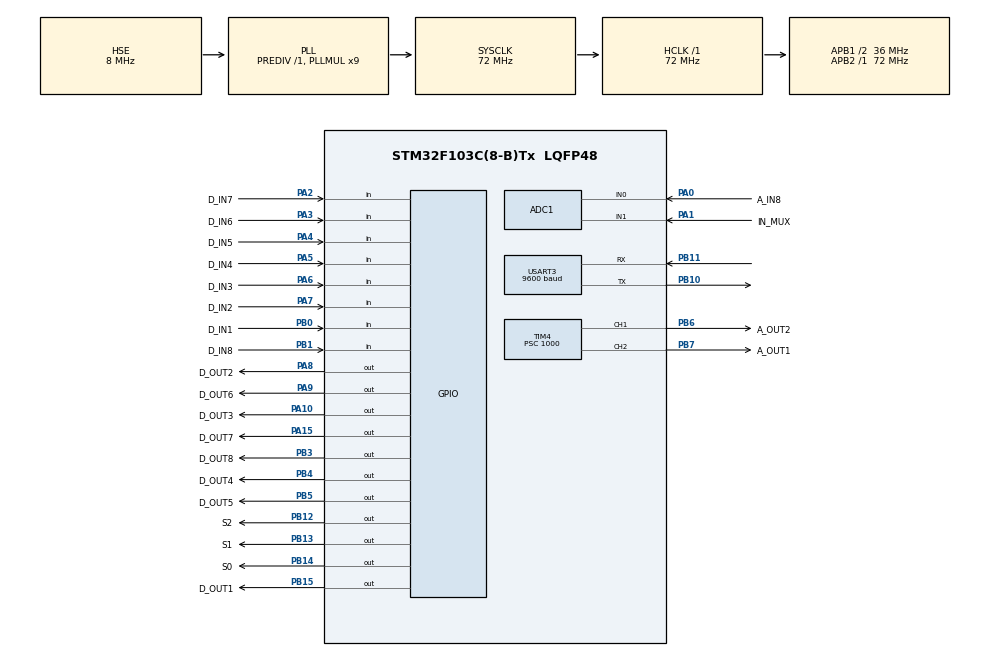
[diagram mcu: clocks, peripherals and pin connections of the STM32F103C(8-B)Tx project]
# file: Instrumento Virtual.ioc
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ADC1.Channel-3\#ChannelRegularConversion=ADC_CHANNEL_0
ADC1.Channel-4\#ChannelRegularConversion=ADC_CHANNEL_1
ADC1.NbrOfConversion=2
ADC1.NbrOfConversionFlag=1
ADC1.Rank-3\#ChannelRegularConversion=1
ADC1.Rank-4\#ChannelRegularConversion=2
ADC1.SamplingTime-3\#ChannelRegularConversion=ADC_SAMPLETIME_1CYCLE_5
ADC1.SamplingTime-4\#ChannelRegularConversion=ADC_SAMPLETIME_1CYCLE_5
ADC1.master=1
Mcu.Family=STM32F1
Mcu.Name=STM32F103C(8-B)Tx
Mcu.Package=LQFP48
NVIC.ADC1_2_IRQn=true\:0\:0\:false\:false\:true\:true\:true\:true
NVIC.PriorityGroup=NVIC_PRIORITYGROUP_4
NVIC.TIM1_UP_IRQn=true\:0\:0\:false\:false\:true\:true\:true\:true
NVIC.USART3_IRQn=true\:0\:0\:false\:false\:true\:true\:true\:true
PA0-WKUP.GPIO_Label=A_IN8
PA0-WKUP.Signal=ADCx_IN0
PA1.GPIO_Label=IN_MUX
PA1.Signal=ADCx_IN1
PA10.GPIO_Label=D_OUT3
PA10.Signal=GPIO_Output
PA13.Mode=Serial_Wire
PA13.Signal=SYS_JTMS-SWDIO
PA14.Mode=Serial_Wire
PA14.Signal=SYS_JTCK-SWCLK
PA15.GPIO_Label=D_OUT7
PA15.Signal=GPIO_Output
PA2.GPIO_Label=D_IN7
PA2.GPIO_PuPd=GPIO_PULLDOWN
PA2.Signal=GPIO_Input
PA3.GPIO_Label=D_IN6
PA3.GPIO_PuPd=GPIO_PULLDOWN
PA3.Signal=GPIO_Input
PA4.GPIO_Label=D_IN5
PA4.GPIO_PuPd=GPIO_PULLDOWN
PA4.Signal=GPIO_Input
PA5.GPIO_Label=D_IN4
PA5.GPIO_PuPd=GPIO_PULLDOWN
PA5.Signal=GPIO_Input
PA6.GPIO_Label=D_IN3
PA6.GPIO_PuPd=GPIO_PULLDOWN
PA6.Signal=GPIO_Input
PA7.GPIO_Label=D_IN2
PA7.GPIO_PuPd=GPIO_PULLDOWN
PA7.Signal=GPIO_Input
PA8.GPIO_Label=D_OUT2
PA8.Signal=GPIO_Output
PA9.GPIO_Label=D_OUT6
PA9.Signal=GPIO_Output
PB0.GPIO_Label=D_IN1
PB0.Signal=GPIO_Input
PB1.GPIO_Label=D_IN8
PB1.Signal=GPIO_Input
PB10.Mode=Asynchronous
PB10.Signal=USART3_TX
PB11.Mode=Asynchronous
PB11.Signal=USART3_RX
PB12.GPIO_Label=S2
PB12.Signal=GPIO_Output
PB13.GPIO_Label=S1
PB13.Signal=GPIO_Output
PB14.GPIO_Label=S0
PB14.Signal=GPIO_Output
PB15.GPIO_Label=D_OUT1
PB15.Signal=GPIO_Output
PB3.GPIO_Label=D_OUT8
PB3.Signal=GPIO_Output
PB4.GPIO_Label=D_OUT4
PB4.Signal=GPIO_Output
PB5.GPIO_Label=D_OUT5
PB5.Signal=GPIO_Output
PB6.GPIO_Label=A_OUT2
PB6.Signal=S_TIM4_CH1
PB7.GPIO_Label=A_OUT1
PB7.Signal=S_TIM4_CH2
PD0-OSC_IN.Mode=HSE-External-Oscillator
PD0-OSC_IN.Signal=RCC_OSC_IN
PD1-OSC_OUT.Mode=HSE-External-Oscillator
PD1-OSC_OUT.Signal=RCC_OSC_OUT
ProjectManager.HeapSize=0x200
ProjectManager.StackSize=0x400
ProjectManager.TargetToolchain=STM32CubeIDE
RCC.ADCPresc=RCC_ADCPCLK2_DIV6
RCC.AHBFreq_Value=72000000
RCC.APB1CLKDivider=RCC_HCLK_DIV2
RCC.APB1Freq_Value=36000000
RCC.APB1TimFreq_Value=72000000
RCC.APB2Freq_Value=72000000
RCC.APB2TimFreq_Value=72000000
RCC.HCLKFreq_Value=72000000
RCC.PLLMUL=RCC_PLL_MUL9
RCC.PLLSourceVirtual=RCC_PLLSOURCE_HSE
RCC.SYSCLKFreq_VALUE=72000000
RCC.SYSCLKSource=RCC_SYSCLKSOURCE_PLLCLK
RCC.USBFreq_Value=72000000
SH.ADCx_IN0.0=ADC1_IN0,IN0
SH.ADCx_IN1.0=ADC2_IN1
SH.ADCx_IN1.1=ADC1_IN1,IN1
SH.S_TIM4_CH1.0=TIM4_CH1,PWM Generation1 CH1
SH.S_TIM4_CH2.0=TIM4_CH2,PWM Generation2 CH2
TIM1.AutoReloadPreload=TIM_AUTORELOAD_PRELOAD_ENABLE
TIM1.Period=71
TIM1.Prescaler=72-1
TIM4.Channel-PWM\ Generation1\ CH1=TIM_CHANNEL_1
TIM4.Channel-PWM\ Generation2\ CH2=TIM_CHANNEL_2
TIM4.Period=1199
TIM4.Prescaler=1000
TIM4.Pulse-PWM\ Generation1\ CH1=0
TIM4.Pulse-PWM\ Generation2\ CH2=0
USART3.BaudRate=9600
USART3.Parity=PARITY_NONE
USART3.VirtualMode=VM_ASYNC
VP_TIM1_VS_ClockSourceINT.Mode=Internal
VP_TIM4_VS_ClockSourceINT.Mode=Internal
board=custom

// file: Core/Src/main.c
/* USER CODE BEGIN Header */
/**
  ******************************************************************************
  * @file           : main.c
  * @brief          : Main program body
  ******************************************************************************
  * @attention
  *
  * Copyright (c) 2023 STMicroelectronics.
  * All rights reserved.
  *
  * This software is licensed under terms that can be found in the LICENSE file
  * in the root directory of this software component.
  * If no LICENSE file comes with this software, it is provided AS-IS.
  *
  ******************************************************************************
  */
/* USER CODE END Header */
#include "main.h"

/* USER CODE BEGIN Includes */
#include "channelConfig.h"
#include <string.h>
#include <stdio.h>
/* USER CODE END Includes */

/* USER CODE BEGIN PM */
#define lengthTransmit  40    //16 entradas y salidas digitales, 8 entradas analógicas, 2 salidas analógicas y 3 bytes en incio
#define lengthReceive  14     //Longitud que espera la uart del dato a recibir, son 8 salidas digitales y 2 analógicas y 2 bytes de inicio y fin
#define lengthDigInOut  16    //Son 8 entradas digitales y 8 salidas digitales
#define lengthAnalogInOut  10 //Son 8 entradas y 2 salidas analógicas
const char *errorTransmision = "reenviar Tx"; //código de error a recibir desde QT
/* USER CODE END PM */

ADC_HandleTypeDef hadc1;

TIM_HandleTypeDef htim1;
TIM_HandleTypeDef htim4;

UART_HandleTypeDef huart3;

/* USER CODE BEGIN PV */

uint8_t flagChange = 0; //variable para cambiar el valor de channelMux cuando el dato se haya guardado
uint8_t channelMux     =  0;  //variable para swtichear entre los canales del mux, va del 0 al 7
uint16_t analogInOut[lengthAnalogInOut]   = {}; //array para guardar las lecturas de las entradas analógicas, 8 entradas y 2 salidas
uint8_t digitalIn[8]   = {}; //array para guardar las lecturas de las entradas digitales, 8 entradas y salidas
uint8_t dataSend[lengthTransmit]   = {}; //array para el envio de datos
uint8_t dataReceive[lengthReceive] = {}; //array para el recibo de dato, no se si es necesario, lo sabremos luego
/* USER CODE END PV */

void SystemClock_Config(void);
static void MX_GPIO_Init(void);
static void MX_ADC1_Init(void);
static void MX_TIM1_Init(void);
static void MX_USART3_UART_Init(void);
static void MX_TIM4_Init(void);
/* USER CODE BEGIN PFP */

void envioDeDatos(void);
void analogToByte(uint16_t * analogData);
void ADC_Select_CH0 (void);
void ADC_Select_CH1 (void);

/* USER CODE END PFP */

int main(void)
{

  /* MCU Configuration--------------------------------------------------------*/

  /* Reset of all peripherals, Initializes the Flash interface and the Systick. */
  HAL_Init();

  /* Configure the system clock */
  SystemClock_Config();

  /* Initialize all configured peripherals */
  MX_GPIO_Init();
  MX_ADC1_Init();
  MX_TIM1_Init();
  MX_USART3_UART_Init();
  MX_TIM4_Init();
  /* USER CODE BEGIN 2 */
  HAL_UART_Receive_IT(&huart3,dataReceive, lengthReceive); //receive data from data buffer interrupt mode
  HAL_TIM_Base_Start_IT(&htim1);
  HAL_TIM_PWM_Start(&htim4, TIM_CHANNEL_1);
  HAL_TIM_PWM_Start(&htim4, TIM_CHANNEL_2);
  /* USER CODE END 2 */

  /* Infinite loop */
  while (1)
  {

  }
}

void SystemClock_Config(void)
{
  RCC_OscInitTypeDef RCC_OscInitStruct = {0};
  RCC_ClkInitTypeDef RCC_ClkInitStruct = {0};
  RCC_PeriphCLKInitTypeDef PeriphClkInit = {0};

  /** Initializes the RCC Oscillators according to the specified parameters
  * in the RCC_OscInitTypeDef structure.
  */
  RCC_OscInitStruct.OscillatorType = RCC_OSCILLATORTYPE_HSE;
  RCC_OscInitStruct.HSEState = RCC_HSE_ON;
  RCC_OscInitStruct.HSEPredivValue = RCC_HSE_PREDIV_DIV1;
  RCC_OscInitStruct.HSIState = RCC_HSI_ON;
  RCC_OscInitStruct.PLL.PLLState = RCC_PLL_ON;
  RCC_OscInitStruct.PLL.PLLSource = RCC_PLLSOURCE_HSE;
  RCC_OscInitStruct.PLL.PLLMUL = RCC_PLL_MUL9;
  if (HAL_RCC_OscConfig(&RCC_OscInitStruct) != HAL_OK)
  {
    Error_Handler();
  }

  /** Initializes the CPU, AHB and APB buses clocks
  */
  RCC_ClkInitStruct.ClockType = RCC_CLOCKTYPE_HCLK|RCC_CLOCKTYPE_SYSCLK
                              |RCC_CLOCKTYPE_PCLK1|RCC_CLOCKTYPE_PCLK2;
  RCC_ClkInitStruct.SYSCLKSource = RCC_SYSCLKSOURCE_PLLCLK;
  RCC_ClkInitStruct.AHBCLKDivider = RCC_SYSCLK_DIV1;
  RCC_ClkInitStruct.APB1CLKDivider = RCC_HCLK_DIV2;
  RCC_ClkInitStruct.APB2CLKDivider = RCC_HCLK_DIV1;

  if (HAL_RCC_ClockConfig(&RCC_ClkInitStruct, FLASH_LATENCY_2) != HAL_OK)
  {
    Error_Handler();
  }
  PeriphClkInit.PeriphClockSelection = RCC_PERIPHCLK_ADC;
  PeriphClkInit.AdcClockSelection = RCC_ADCPCLK2_DIV6;
  if (HAL_RCCEx_PeriphCLKConfig(&PeriphClkInit) != HAL_OK)
  {
    Error_Handler();
  }
}

static void MX_ADC1_Init(void)
{

  ADC_ChannelConfTypeDef sConfig = {0};

  /** Common config
  */
  hadc1.Instance = ADC1;
  hadc1.Init.ScanConvMode = ADC_SCAN_ENABLE;
  hadc1.Init.ContinuousConvMode = DISABLE;
  hadc1.Init.DiscontinuousConvMode = DISABLE;
  hadc1.Init.ExternalTrigConv = ADC_SOFTWARE_START;
  hadc1.Init.DataAlign = ADC_DATAALIGN_RIGHT;
  hadc1.Init.NbrOfConversion = 2;
  if (HAL_ADC_Init(&hadc1) != HAL_OK)
  {
    Error_Handler();
  }

  /** Configure Regular Channel
  */
  sConfig.Channel = ADC_CHANNEL_0;
  sConfig.Rank = ADC_REGULAR_RANK_1;
  sConfig.SamplingTime = ADC_SAMPLETIME_1CYCLE_5;
  if (HAL_ADC_ConfigChannel(&hadc1, &sConfig) != HAL_OK)
  {
    Error_Handler();
  }

  /** Configure Regular Channel
  */
  sConfig.Channel = ADC_CHANNEL_1;
  sConfig.Rank = ADC_REGULAR_RANK_2;
  if (HAL_ADC_ConfigChannel(&hadc1, &sConfig) != HAL_OK)
  {
    Error_Handler();
  }

}

static void MX_TIM1_Init(void)
{

  TIM_ClockConfigTypeDef sClockSourceConfig = {0};
  TIM_MasterConfigTypeDef sMasterConfig = {0};

  htim1.Instance = TIM1;
  htim1.Init.Prescaler = 72-1;
  htim1.Init.CounterMode = TIM_COUNTERMODE_UP;
  htim1.Init.Period = 71;
  htim1.Init.ClockDivision = TIM_CLOCKDIVISION_DIV1;
  htim1.Init.RepetitionCounter = 0;
  htim1.Init.AutoReloadPreload = TIM_AUTORELOAD_PRELOAD_ENABLE;
  if (HAL_TIM_Base_Init(&htim1) != HAL_OK)
  {
    Error_Handler();
  }
  sClockSourceConfig.ClockSource = TIM_CLOCKSOURCE_INTERNAL;
  if (HAL_TIM_ConfigClockSource(&htim1, &sClockSourceConfig) != HAL_OK)
  {
    Error_Handler();
  }
  sMasterConfig.MasterOutputTrigger = TIM_TRGO_RESET;
  sMasterConfig.MasterSlaveMode = TIM_MASTERSLAVEMODE_DISABLE;
  if (HAL_TIMEx_MasterConfigSynchronization(&htim1, &sMasterConfig) != HAL_OK)
  {
    Error_Handler();
  }

}

static void MX_TIM4_Init(void)
{

  TIM_ClockConfigTypeDef sClockSourceConfig = {0};
  TIM_MasterConfigTypeDef sMasterConfig = {0};
  TIM_OC_InitTypeDef sConfigOC = {0};

  htim4.Instance = TIM4;
  htim4.Init.Prescaler = 1000;
  htim4.Init.CounterMode = TIM_COUNTERMODE_UP;
  htim4.Init.Period = 1199;
  htim4.Init.ClockDivision = TIM_CLOCKDIVISION_DIV1;
  htim4.Init.AutoReloadPreload = TIM_AUTORELOAD_PRELOAD_DISABLE;
  if (HAL_TIM_Base_Init(&htim4) != HAL_OK)
  {
    Error_Handler();
  }
  sClockSourceConfig.ClockSource = TIM_CLOCKSOURCE_INTERNAL;
  if (HAL_TIM_ConfigClockSource(&htim4, &sClockSourceConfig) != HAL_OK)
  {
    Error_Handler();
  }
  if (HAL_TIM_PWM_Init(&htim4) != HAL_OK)
  {
    Error_Handler();
  }
  sMasterConfig.MasterOutputTrigger = TIM_TRGO_RESET;
  sMasterConfig.MasterSlaveMode = TIM_MASTERSLAVEMODE_DISABLE;
  if (HAL_TIMEx_MasterConfigSynchronization(&htim4, &sMasterConfig) != HAL_OK)
  {
    Error_Handler();
  }
  sConfigOC.OCMode = TIM_OCMODE_PWM1;
  sConfigOC.Pulse = 0;
  sConfigOC.OCPolarity = TIM_OCPOLARITY_HIGH;
  sConfigOC.OCFastMode = TIM_OCFAST_DISABLE;
  if (HAL_TIM_PWM_ConfigChannel(&htim4, &sConfigOC, TIM_CHANNEL_1) != HAL_OK)
  {
    Error_Handler();
  }
  if (HAL_TIM_PWM_ConfigChannel(&htim4, &sConfigOC, TIM_CHANNEL_2) != HAL_OK)
  {
    Error_Handler();
  }
  HAL_TIM_MspPostInit(&htim4);

}

static void MX_USART3_UART_Init(void)
{

  huart3.Instance = USART3;
  huart3.Init.BaudRate = 9600;
  huart3.Init.WordLength = UART_WORDLENGTH_8B;
  huart3.Init.StopBits = UART_STOPBITS_1;
  huart3.Init.Parity = UART_PARITY_NONE;
  huart3.Init.Mode = UART_MODE_TX_RX;
  huart3.Init.HwFlowCtl = UART_HWCONTROL_NONE;
  huart3.Init.OverSampling = UART_OVERSAMPLING_16;
  if (HAL_UART_Init(&huart3) != HAL_OK)
  {
    Error_Handler();
  }

}

static void MX_GPIO_Init(void)
{
  GPIO_InitTypeDef GPIO_InitStruct = {0};

  /* GPIO Ports Clock Enable */
  __HAL_RCC_GPIOD_CLK_ENABLE();
  __HAL_RCC_GPIOA_CLK_ENABLE();
  __HAL_RCC_GPIOB_CLK_ENABLE();

  /*Configure GPIO pin Output Level */
  HAL_GPIO_WritePin(GPIOB, S2_Pin|S1_Pin|S0_Pin|D_OUT1_Pin
                          |D_OUT8_Pin|D_OUT4_Pin|D_OUT5_Pin, GPIO_PIN_RESET);

  /*Configure GPIO pin Output Level */
  HAL_GPIO_WritePin(GPIOA, D_OUT2_Pin|D_OUT6_Pin|D_OUT3_Pin|D_OUT7_Pin, GPIO_PIN_RESET);

  /*Configure GPIO pin : IN_MUX_Pin */
  GPIO_InitStruct.Pin = IN_MUX_Pin;
  GPIO_InitStruct.Mode = GPIO_MODE_ANALOG;
  HAL_GPIO_Init(IN_MUX_GPIO_Port, &GPIO_InitStruct);

  /*Configure GPIO pins : D_IN7_Pin D_IN6_Pin D_IN5_Pin D_IN4_Pin
                           D_IN3_Pin D_IN2_Pin */
  GPIO_InitStruct.Pin = D_IN7_Pin|D_IN6_Pin|D_IN5_Pin|D_IN4_Pin
                          |D_IN3_Pin|D_IN2_Pin;
  GPIO_InitStruct.Mode = GPIO_MODE_INPUT;
  GPIO_InitStruct.Pull = GPIO_PULLDOWN;
  HAL_GPIO_Init(GPIOA, &GPIO_InitStruct);

  /*Configure GPIO pins : D_IN1_Pin D_IN8_Pin */
  GPIO_InitStruct.Pin = D_IN1_Pin|D_IN8_Pin;
  GPIO_InitStruct.Mode = GPIO_MODE_INPUT;
  GPIO_InitStruct.Pull = GPIO_NOPULL;
  HAL_GPIO_Init(GPIOB, &GPIO_InitStruct);

  /*Configure GPIO pins : S2_Pin S1_Pin S0_Pin D_OUT1_Pin
                           D_OUT8_Pin D_OUT4_Pin D_OUT5_Pin */
  GPIO_InitStruct.Pin = S2_Pin|S1_Pin|S0_Pin|D_OUT1_Pin
                          |D_OUT8_Pin|D_OUT4_Pin|D_OUT5_Pin;
  GPIO_InitStruct.Mode = GPIO_MODE_OUTPUT_PP;
  GPIO_InitStruct.Pull = GPIO_NOPULL;
  GPIO_InitStruct.Speed = GPIO_SPEED_FREQ_LOW;
  HAL_GPIO_Init(GPIOB, &GPIO_InitStruct);

  /*Configure GPIO pins : D_OUT2_Pin D_OUT6_Pin D_OUT3_Pin D_OUT7_Pin */
  GPIO_InitStruct.Pin = D_OUT2_Pin|D_OUT6_Pin|D_OUT3_Pin|D_OUT7_Pin;
  GPIO_InitStruct.Mode = GPIO_MODE_OUTPUT_PP;
  GPIO_InitStruct.Pull = GPIO_NOPULL;
  GPIO_InitStruct.Speed = GPIO_SPEED_FREQ_LOW;
  HAL_GPIO_Init(GPIOA, &GPIO_InitStruct);

}

/* USER CODE BEGIN 4 */

/*
 * Función para manejar las interrupciones del timer 1 dedicado a la lectura de entradas
 */
void HAL_TIM_PeriodElapsedCallback(TIM_HandleTypeDef *htim)
{
	HAL_UART_Receive_IT(&huart3, dataReceive, lengthReceive);
 	if (htim->Instance == TIM1)
 	{

		if ( channelMux == 7)
		{
			ADC_Select_CH0(); //selecciono el canal del adc a leer
			HAL_ADC_Start_IT(&hadc1); //inicio el acc en modo interrupcion
			if (flagChange == 1){
				channelMux = 0; //incrementa antes de pasar a envio de datos por si vuelve a activarse el timer antes de terminar envioDeDatos()
				flagChange = 0 ;
				envioDeDatos();
			}
		}
		else
		{
			//Configuro las llaves selectoras del MUX
			for (uint8_t i=0; i<3; i++)
			{
				HAL_GPIO_WritePin(channelsIn[channelMux].port, channelsIn[channelMux].pin[i], (GPIO_PinState)channelsIn[channelMux].value[i]); //casteamos el valor para que sea un estado de pin admitido
			}
			ADC_Select_CH1(); //selecciono el canal del mux para leer
			HAL_ADC_Start_IT(&hadc1);
			if (flagChange == 1)
			{
				channelMux = (channelMux + 1) % 8; //para mantener el número entre 0 y 7
				flagChange = 0 ;
			}
		}

 		//leo las entrada digital correspondiente al case ejecutandose
 		digitalIn[channelMux] = HAL_GPIO_ReadPin(channelsIn[channelMux].portD, channelsIn[channelMux].digitalPin);
		//digitalIn[channelMux] = 1;
	}
}

/*
 * Funcion para cuando la conversión del ADC se termina
 */
void HAL_ADC_ConvCpltCallback(ADC_HandleTypeDef* hadc)
{
	analogInOut[channelMux] = HAL_ADC_GetValue(&hadc1); //reemplazar por la lectura del ADC
	HAL_ADC_Stop_IT(&hadc1);
	flagChange = 1;

}

/*
 * Función para manejar los datos cuando la recepción esta completa
 */
void HAL_UART_RxCpltCallback(UART_HandleTypeDef *huart){
	// Verifica si los datos recibidos son iguales a "reenviar transmision"
//	if (strncmp((char*)dataReceive, errorTransmision, strlen(errorTransmision)) == 0) {
//		HAL_UART_Transmit_IT(&huart3,dataSend, lengthTransmit); //envio de datos a través de la uart por interrupción
//	}else

	if ( dataReceive[0] == 'I' && dataReceive[lengthReceive-1] == 'E'){
		//Escribo los valores obtenidos en las salidas digitales
		for (uint8_t i = 0; i<8 ; i++){
			if(i == 6 ){
				continue;
			}
			HAL_GPIO_WritePin(channelsOut[i].port, channelsOut[i].digitalPin, (GPIO_PinState)dataReceive[i+1]);
		}
		//Modifico el formato de la salida analógica recibida a tipo uint_16
		uint16_t A_OUT1 = (uint16_t)(dataReceive[9] << 8 | dataReceive[10]);
		uint16_t A_OUT2 = (uint16_t)(dataReceive[11] << 8 | dataReceive[12]);
		//Lo guardo en el array de entradas y salidas analógicas
		analogInOut[8] = A_OUT1;
		analogInOut[9] = A_OUT2;
		// Asigno los valores a CCR1 y CCR2, previamente casteados a uint32, que manejan el duty del PWM
		TIM4->CCR1 = (uint32_t)A_OUT1;
		TIM4->CCR2 = (uint32_t)A_OUT2;
		//Envío los datos para actualizar los valores de QT
		//envioDeDatos();
		HAL_UART_Receive_IT(&huart3, dataReceive, lengthReceive);
	}

}

/*
 * Funcion que se encarga de leer las salidas y almacenar los datos de las entradas en el array sendData para después enviarlo por uart
 */
void envioDeDatos(void)
{
	uint8_t Outs = 0;
	dataSend[0] = 'x';
	dataSend[1] = 'f';
	dataSend[2] = 'x';
	analogToByte(analogInOut); //guarda los datos del 3 al 22
	for (uint8_t i=23; i< lengthDigInOut + 23; i++)
	{
		if(i<=30)
		{
			dataSend[i] = digitalIn[i-23]; // guardo en el array dataSend las entradas digitales
		}
		else
		{
			//Guardo en el array sendData las salidas digitales
			dataSend[i] = HAL_GPIO_ReadPin(channelsOut[Outs].port, channelsOut[Outs].digitalPin);
			Outs = (Outs + 1) % 8;
		}
	}
	dataSend[39] = '\n';
	HAL_UART_Transmit_IT(&huart3,dataSend, lengthTransmit); //envio de datos a través de la uart por interrupción

}

/*Función que se encarga de transformar los valores obtenidos del ADC (0 al 4095) en bytes y almacenarlos en sendData
 * ocupan los lugres del 3 al 22 en el array
 */
void analogToByte(uint16_t * analogData) {
  uint8_t k = 3;
  for (uint8_t i = 0; i < lengthAnalogInOut; ++i)
  {
	  uint16_t numero = analogData[i];
	  // cada entero tipo uin16_t ocupa 2 bytes (uint8_t)
      for (uint8_t j=0; j<2; j++)
      {
        dataSend[k] = (numero >> (j * 8)) & 0xFF;
        k++;
      }
  }
}

void ADC_Select_CH0 (void)
{
	ADC_ChannelConfTypeDef sConfig = {0};
	/** Configure Regular Channel
	  */
	  sConfig.Channel = ADC_CHANNEL_0;
	  sConfig.Rank = ADC_REGULAR_RANK_1;
	  sConfig.SamplingTime = ADC_SAMPLETIME_1CYCLE_5;
	  if (HAL_ADC_ConfigChannel(&hadc1, &sConfig) != HAL_OK)
	  {
	    Error_Handler();
	  }
}

void ADC_Select_CH1 (void)
{
	ADC_ChannelConfTypeDef sConfig = {0};
	/** Configure Regular Channel
	  */
	  sConfig.Channel = ADC_CHANNEL_1;
	  sConfig.Rank = ADC_REGULAR_RANK_2;
	  if (HAL_ADC_ConfigChannel(&hadc1, &sConfig) != HAL_OK)
	  {
		Error_Handler();
	  }
}
/* USER CODE END 4 */

void Error_Handler(void)
{
  __disable_irq();
  while (1)
  {
  }
}
